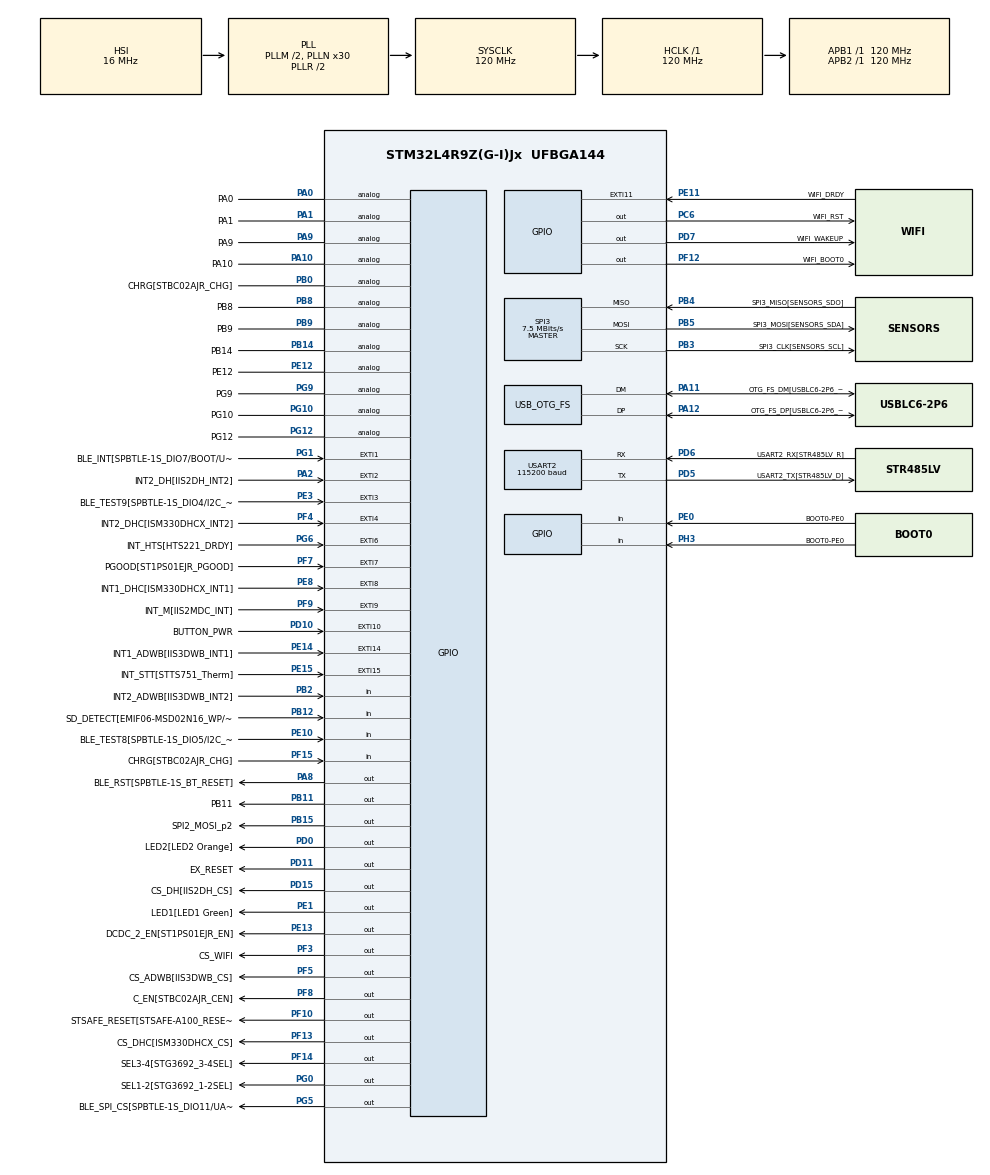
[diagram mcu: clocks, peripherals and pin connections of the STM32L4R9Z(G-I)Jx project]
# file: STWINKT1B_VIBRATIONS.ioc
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Mcu.Family=STM32L4
Mcu.Name=STM32L4R9Z(G-I)Jx
Mcu.Package=UFBGA144
NVIC.OTG_FS_IRQn=true\:0\:0\:false\:false\:true\:false\:true\:true
NVIC.PriorityGroup=NVIC_PRIORITYGROUP_4
NVIC.USART2_IRQn=true\:0\:0\:false\:false\:true\:true\:true\:true
PA0.GPIO_Label=PA0
PA0.Signal=GPIO_Analog
PA1.GPIO_Label=PA1
PA1.Signal=GPIO_Analog
PA10.GPIO_Label=PA10
PA10.Signal=GPIO_Analog
PA11.GPIO_Label=OTG_FS_DM[USBLC6-2P6_D2]
PA11.Mode=Device_Only
PA11.Signal=USB_OTG_FS_DM
PA12.GPIO_Label=OTG_FS_DP[USBLC6-2P6_D1]
PA12.Mode=Device_Only
PA12.Signal=USB_OTG_FS_DP
PA13\ (JTMS/SWDIO).GPIO_Label=SWDIO
PA13\ (JTMS/SWDIO).Signal=SYS_JTMS-SWDIO
PA14\ (JTCK/SWCLK).GPIO_Label=SWDCLK
PA14\ (JTCK/SWCLK).Signal=SYS_JTCK-SWCLK
PA15\ (JTDI).GPIO_Label=EX_PWM
PA15\ (JTDI).Signal=S_TIM2_CH1
PA2.GPIO_Label=INT2_DH[IIS2DH_INT2]
PA2.Signal=GPXTI2
PA4.GPIO_Label=DAC1_OUT1
PA4.Signal=COMP_DAC11_group
PA5.GPIO_Label=EX_ADC
PA5.Signal=ADCx_IN10
PA8.GPIO_Label=BLE_RST[SPBTLE-1S_BT_RESET]
PA8.Signal=GPIO_Output
PA9.GPIO_Label=PA9
PA9.Signal=GPIO_Analog
PB0.GPIO_Label=CHRG[STBC02AJR_CHG]
PB0.Signal=GPIO_Analog
PB1.GPIO_Label=USART3_RTS[STG3692_3S2]
PB1.Signal=USART3_RTS
PB10.GPIO_Label=DFSDM1_D7
PB10.GPIO_PuPd=GPIO_PULLDOWN
PB10.GPIO_Speed=GPIO_SPEED_FREQ_VERY_HIGH
PB10.Signal=S_DATAIN7DFSDM1
PB11.GPIO_Label=PB11
PB11.Signal=GPIO_Output
PB12.GPIO_Label=SD_DETECT[EMIF06-MSD02N16_WP/CD]
PB12.Signal=GPIO_Input
PB13.GPIO_Label=USART3_CTS
PB13.Signal=USART3_CTS
PB14.GPIO_Label=PB14
PB14.Signal=GPIO_Analog
PB15.GPIO_Label=SPI2_MOSI_p2
PB15.Signal=GPIO_Output
PB2.GPIO_Label=INT2_ADWB[IIS3DWB_INT2]
PB2.Signal=GPIO_Input
PB3\ (JTDO/TRACESWO).GPIO_Label=SPI3_CLK[SENSORS_SCL]
PB3\ (JTDO/TRACESWO).Mode=Full_Duplex_Master
PB3\ (JTDO/TRACESWO).Signal=SPI3_SCK
PB4\ (NJTRST).GPIO_Label=SPI3_MISO[SENSORS_SDO]
PB4\ (NJTRST).Mode=Full_Duplex_Master
PB4\ (NJTRST).Signal=SPI3_MISO
PB5.GPIO_Label=SPI3_MOSI[SENSORS_SDA]
PB5.Mode=Full_Duplex_Master
PB5.Signal=SPI3_MOSI
PB6.GPIO_Label=DFSDM1_DATIN5[IMP34DT05_DOUT]
PB6.GPIO_PuPd=GPIO_PULLDOWN
PB6.GPIO_Speed=GPIO_SPEED_FREQ_VERY_HIGH
PB6.Signal=S_DATAIN5DFSDM1
PB8.GPIO_Label=PB8
PB8.Signal=GPIO_Analog
PB9.GPIO_Label=PB9
PB9.Signal=GPIO_Analog
PC0.GPIO_Label=ADC1_IN1[TS922EIJT_OUT2]
PC0.Signal=ADCx_IN1
PC1.GPIO_Label=ADC1_IN2[TS922EIJT_OUT1]
PC1.Signal=ADCx_IN2
PC10.GPIO_Label=SDMMC_D2[EMIF06-MSD02N16_DAT2_In]
PC10.Signal=SDMMC1_D2
PC11.GPIO_Label=SDMMC_D3[EMIF06-MSD02N16_DAT3_In]
PC11.Signal=SDMMC1_D3
PC12.GPIO_Label=SDMMC_CK[EMIF06-MSD02N16_CLK_In]
PC12.Signal=SDMMC1_CK
PC13.GPIO_Label=RTC_TAMP1
PC13.Signal=RTC_TAMP1
PC14-OSC32_IN\ (PC14).GPIO_Label=OSC32_IN
PC14-OSC32_IN\ (PC14).Signal=RCC_OSC32_IN
PC15-OSC32_OUT\ (PC15).GPIO_Label=OSC32_OUT
PC15-OSC32_OUT\ (PC15).Signal=RCC_OSC32_OUT
PC2.GPIO_Label=SPI2_MISO[SPBTLE-1S_DIO2/SPI_MISO]
PC2.Signal=SPI2_MISO
PC3.GPIO_Label=SPI2_MOSI[SPBTLE-1S_DIO3/SPI_MOSI]
PC3.Signal=SPI2_MOSI
PC4.GPIO_Label=uC_ADC_BATT[STBC02AJR_BATMS]
PC4.Signal=ADCx_IN13
PC5.GPIO_Label=PC5/WKUP5
PC5.Signal=SYS_WKUP5
PC6.GPIO_Label=WIFI_RST
PC6.Signal=GPIO_Output
PC8.GPIO_Label=SDMMC_D0[EMIF06-MSD02N16_DAT0_In]
PC8.Signal=SDMMC1_D0
PC9.GPIO_Label=SDMMC_D1[EMIF06-MSD02N16_DAT1_In]
PC9.Signal=SDMMC1_D1
PD0.GPIO_Label=LED2[LED2 Orange]
PD0.Signal=GPIO_Output
PD1.GPIO_Label=SPI2_CLK[SPBTLE-1S_DIO0/SPI_CLK]
PD1.Signal=SPI2_SCK
PD10.GPIO_Label=BUTTON_PWR
PD10.Signal=GPXTI10
PD11.GPIO_Label=EX_RESET 
PD11.Signal=GPIO_Output
PD12.GPIO_Label=I2C4_SCL
PD12.Signal=I2C4_SCL
PD13.GPIO_Label=I2C4_SDA
PD13.Signal=I2C4_SDA
PD15.GPIO_Label=CS_DH[IIS2DH_CS]
PD15.PinState=GPIO_PIN_SET
PD15.Signal=GPIO_Output
PD2.GPIO_Label=SDMMC_CMD[EMIF06-MSD02N16_CMD_In]
PD2.Signal=SDMMC1_CMD
PD4.GPIO_Label=USART2_RTS[STR485LV_DE]
PD4.Signal=USART2_RTS
PD5.GPIO_Label=USART2_TX[STR485LV_D]
PD5.Mode=Asynchronous
PD5.Signal=USART2_TX
PD6.GPIO_Label=USART2_RX[STR485LV_R]
PD6.Mode=Asynchronous
PD6.Signal=USART2_RX
PD7.GPIO_Label=WIFI_WAKEUP
PD7.Signal=GPIO_Output
PD8.GPIO_Label=USART3_TX[STG3692_1S1]
PD8.Signal=USART3_TX
PD9.GPIO_Label=USART3_RX[STG3692_2S1]
PD9.Signal=USART3_RX
PE0.GPIO_Label=BOOT0-PE0
PE0.Signal=GPIO_Input
PE1.GPIO_Label=LED1[LED1 Green]
PE1.Signal=GPIO_Output
PE10.GPIO_Label=BLE_TEST8[SPBTLE-1S_DIO5/I2C_SDA]
PE10.Signal=GPIO_Input
PE11.GPIO_Label=WIFI_DRDY
PE11.Signal=GPXTI11
PE12.GPIO_Label=PE12
PE12.Signal=GPIO_Analog
PE13.GPIO_Label=DCDC_2_EN[ST1PS01EJR_EN]
PE13.Signal=GPIO_Output
PE14.GPIO_Label=INT1_ADWB[IIS3DWB_INT1]
PE14.Signal=GPXTI14
PE15.GPIO_Label=INT_STT[STTS751_Therm]
PE15.Signal=GPXTI15
PE2.GPIO_Label=SAI1_MCLK_A
PE2.Signal=SAI1_MCLK_A
PE3.GPIO_Label=BLE_TEST9[SPBTLE-1S_DIO4/I2C_CLK]
PE3.Signal=GPXTI3
PE4.GPIO_Label=SAI1_FS_A/DFSDM_D3
PE4.Signal=SAI1_FS_A
PE5.GPIO_Label=SAI1_SCK_A
PE5.Signal=SAI1_SCK_A
PE6.GPIO_Label=SAI1_SD_A
PE6.Signal=SAI1_SD_A
PE7.GPIO_Label=SAI1_SD_B
PE7.Signal=SAI1_SD_B
PE8.GPIO_Label=INT1_DHC[ISM330DHCX_INT1]
PE8.Signal=GPXTI8
PE9.GPIO_Label=DFSDM1_CKOUT[IMP34DT05_CLK]
PE9.GPIO_PuPd=GPIO_PULLDOWN
PE9.GPIO_Speed=GPIO_SPEED_FREQ_VERY_HIGH
PE9.Signal=S_CKOUTDFSDM1
PF0.GPIO_Label=I2C2_SDA[SENSORS_SDA]
PF0.Signal=I2C2_SDA
PF1.GPIO_Label=I2C2_SDA[SENSORS_SCL]
PF1.Signal=I2C2_SCL
PF10.GPIO_Label=STSAFE_RESET[STSAFE-A100_RESET]
PF10.Signal=GPIO_Output
PF12.GPIO_Label=WIFI_BOOT0
PF12.Signal=GPIO_Output
PF13.GPIO_Label=CS_DHC[ISM330DHCX_CS]
PF13.GPIO_PuPd=GPIO_NOPULL
PF13.GPIO_Speed=GPIO_SPEED_FREQ_HIGH
PF13.PinState=GPIO_PIN_SET
PF13.Signal=GPIO_Output
PF14.GPIO_Label=SEL3-4[STG3692_3-4SEL]
PF14.Signal=GPIO_Output
PF15.GPIO_Label=CHRG[STBC02AJR_CHG]
PF15.Signal=GPIO_Input
PF2.GPIO_Label=I2C2_SMBA[STTS751_EV]
PF2.Signal=I2C2_SMBA
PF3.GPIO_Label=CS_WIFI
PF3.PinState=GPIO_PIN_SET
PF3.Signal=GPIO_Output
PF4.GPIO_Label=INT2_DHC[ISM330DHCX_INT2]
PF4.Signal=GPXTI4
PF5.GPIO_Label=CS_ADWB[IIS3DWB_CS]
PF5.PinState=GPIO_PIN_SET
PF5.Signal=GPIO_Output
PF6.GPIO_Label=SW_SEL[STBC02AJR_SW_SEL]
PF6.GPIO_Speed=GPIO_SPEED_FREQ_HIGH
PF6.Signal=S_TIM5_CH1
PF7.GPIO_Label=PGOOD[ST1PS01EJR_PGOOD]
PF7.Signal=GPXTI7
PF8.GPIO_Label=C_EN[STBC02AJR_CEN]
PF8.Signal=GPIO_Output
PF9.GPIO_Label=INT_M[IIS2MDC_INT]
PF9.Signal=GPXTI9
PG0.GPIO_Label=SEL1-2[STG3692_1-2SEL]
PG0.Signal=GPIO_Output
PG1.GPIO_Label=BLE_INT[SPBTLE-1S_DIO7/BOOT/UART_CTS]
PG1.Signal=GPXTI1
PG10.GPIO_Label=PG10
PG10.Signal=GPIO_Analog
PG12.GPIO_Label=PG12
PG12.Signal=GPIO_Analog
PG2.GPIO_Label=SPI1_CLK
PG2.Signal=SPI1_SCK
PG3.GPIO_Label=SPI1_MISO
PG3.Signal=SPI1_MISO
PG4.GPIO_Label=SPI1_MOSI
PG4.Signal=SPI1_MOSI
PG5.GPIO_Label=BLE_SPI_CS[SPBTLE-1S_DIO11/UART_RXD]
PG5.PinState=GPIO_PIN_SET
PG5.Signal=GPIO_Output
PG6.GPIO_Label=INT_HTS[HTS221_DRDY]
PG6.Signal=GPXTI6
PG7.GPIO_Label=I2C3_SCL
PG7.Signal=I2C3_SCL
PG8.GPIO_Label=I2C3_SDA
PG8.Signal=I2C3_SDA
PG9.GPIO_Label=PG9
PG9.Signal=GPIO_Analog
PH0-OSC_IN\ (PH0).GPIO_Label=OSC_IN
PH0-OSC_IN\ (PH0).Signal=RCC_OSC_IN
PH1-OSC_OUT\ (PH1).GPIO_Label=OSC_OUT
PH1-OSC_OUT\ (PH1).Signal=RCC_OSC_OUT
PH3-BOOT0.GPIO_Label=BOOT0-PE0
PH3-BOOT0.Signal=GPIO_Input
ProjectManager.HeapSize=0x200
ProjectManager.StackSize=0x400
ProjectManager.TargetToolchain=STM32CubeIDE
RCC.ADCFreq_Value=76800000
RCC.AHBFreq_Value=120000000
RCC.APB1Freq_Value=120000000
RCC.APB1TimFreq_Value=120000000
RCC.APB2Freq_Value=120000000
RCC.APB2TimFreq_Value=120000000
RCC.CK48CLockSelection=RCC_USBCLKSOURCE_HSI48
RCC.CortexFreq_Value=120000000
RCC.DSITX_Div=1
RCC.HCLKFreq_Value=120000000
RCC.HSE_VALUE=16000000
RCC.HSI48_VALUE=48000000
RCC.HSI_VALUE=16000000
RCC.LSE_VALUE=32768
RCC.MSI_VALUE=4000000
RCC.PLLDSIODF=DSI_PLL_OUT_DIV2
RCC.PLLM1=2
RCC.PLLM2=5
RCC.PLLM3=2
RCC.PLLN=30
RCC.PLLSAI1N=96
RCC.PLLSAI1P=RCC_PLLP_DIV25
RCC.PLLSAI1Q=RCC_PLLQ_DIV4
RCC.PLLSAI1R=RCC_PLLR_DIV4
RCC.PLLSourceVirtual=RCC_PLLSOURCE_HSI
RCC.RTCClockSelection=RCC_RTCCLKSOURCE_LSE
RCC.SDMMCClockSelection=RCC_SDIOCLKSOURCE_CLK48
RCC.SYSCLKFreq_VALUE=120000000
RCC.SYSCLKSource=RCC_SYSCLKSOURCE_PLLCLK
RCC.USBFreq_Value=48000000
RCC.VCOOutputFreq_Value=240000000
SH.ADCx_IN1.0=ADC1_IN1
SH.ADCx_IN10.0=ADC1_IN10
SH.ADCx_IN13.0=ADC1_IN13
SH.ADCx_IN2.0=ADC1_IN2
SH.COMP_DAC11_group.0=DAC1_OUT1
SH.S_CKOUTDFSDM1.0=DFSDM1_CKOUT
SH.S_DATAIN5DFSDM1.0=DFSDM1_DATIN5
SH.S_DATAIN7DFSDM1.0=DFSDM1_DATIN7
SH.S_TIM2_CH1.0=TIM2_CH1
SH.S_TIM5_CH1.0=TIM5_CH1
SPI3.BaudRatePrescaler=SPI_BAUDRATEPRESCALER_16
SPI3.CLKPhase=SPI_PHASE_2EDGE
SPI3.CLKPolarity=SPI_POLARITY_HIGH
SPI3.CalculateBaudRate=7.5 MBits/s
SPI3.DataSize=SPI_DATASIZE_8BIT
SPI3.Direction=SPI_DIRECTION_2LINES
SPI3.Mode=SPI_MODE_MASTER
SPI3.VirtualType=VM_MASTER
USART2.BaudRate=115200
USART2.VirtualMode-Asynchronous=VM_ASYNC
USB_DEVICE.CLASS_NAME_FS=CDC
USB_DEVICE.VirtualMode=Cdc
USB_DEVICE.VirtualModeFS=Cdc_FS
USB_OTG_FS.VirtualMode=Device_Only
VP_USB_DEVICE_VS_USB_DEVICE_CDC_FS.Mode=CDC_FS
board=STEVAL-STWINKT1

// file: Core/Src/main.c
/* USER CODE BEGIN Header */
/**
  ******************************************************************************
  * @file           : main.c
  * @brief          : Main program body
  ******************************************************************************
  * @attention
  *
  * <h2><center>&copy; Copyright (c) 2021 STMicroelectronics.
  * All rights reserved.</center></h2>
  *
  * This software component is licensed by ST under BSD 3-Clause license,
  * the "License"; You may not use this file except in compliance with the
  * License. You may obtain a copy of the License at:
  *                        opensource.org/licenses/BSD-3-Clause
  *
  ******************************************************************************
  */
/* USER CODE END Header */
#include "main.h"
#include "usb_device.h"

/* USER CODE BEGIN Includes */
#include "usbd_cdc_if.h"
#include "ism330dhcx_reg.h"
#include "NanoEdgeAI.h"
#include <stdio.h>
#include <math.h>
/* USER CODE END Includes */

/* USER CODE BEGIN PD */
#define SENSOR_BUS 		hspi3	/* SPI3 connected to the ISM330DHCX */
#define LEARN_NB		50	/* Number of learns before entering in detect mode */
#define NEAI_MODE		0	/* 0: Datalogging mode | 1: NEAI functions mode */
#define NEAI_NB_VERIFS	3	/* Number of inferences done before calculating a mean result */
#define THRESHOLD		90	/* NEAI threshold between nominal & abnormal */
#define COM_MODE		0	/* 0: HUART (USB on STLink) | 1: USB_CDC (USB on STWIN) */
/* USER CODE END PD */

/* USER CODE BEGIN PM */
#define	BOOT_TIME	100 //ms
/* USER CODE END PM */

SPI_HandleTypeDef hspi3;

UART_HandleTypeDef huart2;

/* USER CODE BEGIN PV */
static stmdev_ctx_t dev_ctx;
static int16_t data_raw_acceleration[3];
static uint8_t whoamI, rst;
static uint8_t tx_buffer[1000];
float input_user_buffer[DATA_INPUT_USER * AXIS_NUMBER];	// Buffer of input values
char input_user_buffer_uint8[7 * DATA_INPUT_USER * AXIS_NUMBER + 1];
uint8_t learn_cpt = 0, signals = 0, neai_result = 0;
uint32_t nb_inferences = 0, mean_neai_result = 0;
/* USER CODE END PV */

void SystemClock_Config(void);
static void MX_GPIO_Init(void);
static void MX_SPI3_Init(void);
static void MX_USART2_UART_Init(void);
/* USER CODE BEGIN PFP */
static int32_t platform_write(void *handle, uint8_t reg, const uint8_t *bufp, uint16_t len);
static int32_t platform_read(void *handle, uint8_t reg, uint8_t *bufp, uint16_t len);
static void tx_com( uint8_t *tx_buffer, uint16_t len );
static void platform_delay(uint32_t ms);
/* USER CODE END PFP */

int main(void)
{
  /* USER CODE BEGIN 1 */
  /* Initialize mems driver interface */
  dev_ctx.write_reg = platform_write;
  dev_ctx.read_reg = platform_read;
  dev_ctx.handle = &SENSOR_BUS;
  /* USER CODE END 1 */

  /* MCU Configuration--------------------------------------------------------*/

  /* Reset of all peripherals, Initializes the Flash interface and the Systick. */
  HAL_Init();

  /* USER CODE BEGIN Init */
  enum neai_state error_code = neai_anomalydetection_init();	// Anomaly Detection init
  if (error_code != NEAI_OK) {								// Checking NEAI error code
	  printf("NEAI ERROR %d\r\n", error_code);
  } else {
	  printf("NEAI OK\r\n");
  }
  /* USER CODE END Init */

  /* Configure the system clock */
  SystemClock_Config();

  /* Initialize all configured peripherals */
  MX_GPIO_Init();
  MX_USB_DEVICE_Init();
  MX_SPI3_Init();
  MX_USART2_UART_Init();
  /* USER CODE BEGIN 2 */

  /* Set SPI3 on TX/RX STMOD+ pins */
  HAL_GPIO_WritePin(GPIOG, SEL1_2_Pin, GPIO_PIN_SET);

  /* Restore default configuration */
  ism330dhcx_reset_set(&dev_ctx, PROPERTY_ENABLE);
  /* Wait sensor boot time */
  platform_delay(BOOT_TIME);

  do {
	  /* Restore default configuration */
      ism330dhcx_reset_set(&dev_ctx, PROPERTY_ENABLE);
      /* Wait sensor boot time */
      platform_delay(BOOT_TIME);
      /* Check device ID */
      ism330dhcx_device_id_get(&dev_ctx, &whoamI);
  }
  while (whoamI != ISM330DHCX_ID);

  do {
	  /* Check sensor reset */
      ism330dhcx_reset_get(&dev_ctx, &rst);
  }
  while (rst);

  /* Start device configuration. */
  ism330dhcx_device_conf_set(&dev_ctx, PROPERTY_ENABLE);
  /* Enable Block Data Update */
  ism330dhcx_block_data_update_set(&dev_ctx, PROPERTY_ENABLE);
  /* Set Output Data Rate */
  ism330dhcx_xl_data_rate_set(&dev_ctx, ISM330DHCX_XL_ODR_833Hz);
  /* Set full scale */
  ism330dhcx_xl_full_scale_set(&dev_ctx, ISM330DHCX_2g);
  /* Configure filtering chain(No aux interface)
   *
   * Accelerometer - LPF1 + LPF2 path
   */
  //ism330dhcx_xl_hp_path_on_out_set(&dev_ctx, ISM330DHCX_LP_ODR_DIV_100);
  ism330dhcx_xl_hp_path_on_out_set(&dev_ctx, ISM330DHCX_HP_PATH_DISABLE_ON_OUT);
  //ism330dhcx_xl_filter_lp2_set(&dev_ctx, PROPERTY_ENABLE);

  /* Fill accelerometer buffer */
  HAL_UART_TxCpltCallback(&huart2);

  /* USER CODE END 2 */

  /* Infinite loop */
  /* USER CODE BEGIN WHILE */
  while (1)
  {
    if (NEAI_MODE) {
		if (learn_cpt < LEARN_NB) {
			HAL_GPIO_WritePin(GPIOE, LED2_Pin, GPIO_PIN_SET);
			/* Increase learn counter */
			learn_cpt++;
			/* Call NEAI learn function */
			error_code = neai_anomalydetection_learn(input_user_buffer);
			/* Print infos on learning */
			sprintf((char *)tx_buffer, "Learn: %d/%d.\r\n", learn_cpt, LEARN_NB);
			if (COM_MODE) {
				tx_com(tx_buffer, strlen((char const *)tx_buffer));
			}
			else {
				HAL_UART_Transmit_IT(&huart2, tx_buffer, strlen((char const *)tx_buffer));
			}
		}
		else {
			/* Learning is done, first detect */
			if(learn_cpt == LEARN_NB) {
				HAL_Delay(2200);
				learn_cpt++;
			}
			//HAL_GPIO_WritePin(GPIOE, LED1_Pin, GPIO_PIN_SET);
	    	/* Fill accelerometer buffer */
	    	HAL_UART_TxCpltCallback(&huart2);
			/* Detect */
			if(nb_inferences < NEAI_NB_VERIFS) {
				error_code = neai_anomalydetection_detect(input_user_buffer, &neai_result);
				mean_neai_result += neai_result;
				nb_inferences++;
			} else {
				neai_result = mean_neai_result / NEAI_NB_VERIFS;
				nb_inferences = 0;
				mean_neai_result = 0;

				/* Print infos on detect */
				sprintf((char *)tx_buffer, "Result: %d/100.\r\n", neai_result);
				if (COM_MODE) {
					tx_com(tx_buffer, strlen((char const *)tx_buffer));
				}
				else {
					HAL_UART_Transmit_IT(&huart2, tx_buffer, strlen((char const *)tx_buffer));
				}
				if (neai_result < THRESHOLD) {
					/* Switch on orange led */
					HAL_GPIO_WritePin(GPIOE, LED1_Pin, GPIO_PIN_RESET);
					HAL_GPIO_WritePin(GPIOD, LED2_Pin, GPIO_PIN_SET);
				}
				else {
					/* Switch on green led */
					HAL_GPIO_WritePin(GPIOE, LED1_Pin, GPIO_PIN_SET);
					HAL_GPIO_WritePin(GPIOD, LED2_Pin, GPIO_PIN_RESET);
				}
				HAL_Delay(800);
			}
		}
	}
    else {
    	if (COM_MODE) {
    		/* Fill accelerometer buffer */
    		HAL_UART_TxCpltCallback(&huart2);
    		/* Formatting the whole buffer to be sent through usb_cdc */
        	for(uint32_t buf_index = 0 ; buf_index < DATA_INPUT_USER * AXIS_NUMBER ; buf_index++) {
        		snprintf(input_user_buffer_uint8 + 7*buf_index, 7, "%.4f", input_user_buffer[buf_index]);
        		*(input_user_buffer_uint8 + 7*buf_index + 6) = ' ';
        	}
        	*(input_user_buffer_uint8 + 7*(DATA_INPUT_USER * AXIS_NUMBER)) = '\n';
    		/* Print the whole buffer to the serial over usb_cdc */
    		tx_com((uint8_t *)input_user_buffer_uint8, strlen((char const *)input_user_buffer_uint8));
    	}
    	else {
    		/* Formatting the whole buffer to be sent through uart */
        	for(uint32_t buf_index = 0 ; buf_index < DATA_INPUT_USER * AXIS_NUMBER ; buf_index++) {
        		snprintf(input_user_buffer_uint8 + 7*buf_index, 7, "%.4f", input_user_buffer[buf_index]);
        		*(input_user_buffer_uint8 + 7*buf_index + 6) = ' ';
        	}
        	*(input_user_buffer_uint8 + 7*(DATA_INPUT_USER * AXIS_NUMBER)) = '\n';
        	/* Print the whole buffer to the serial */
        	HAL_UART_Transmit_IT(&huart2, (uint8_t *)input_user_buffer_uint8, sizeof(input_user_buffer_uint8));
    	}
		signals++;
    }
    /* USER CODE END WHILE */

  }
}

void SystemClock_Config(void)
{
  RCC_OscInitTypeDef RCC_OscInitStruct = {0};
  RCC_ClkInitTypeDef RCC_ClkInitStruct = {0};

  /** Configure the main internal regulator output voltage
  */
  if (HAL_PWREx_ControlVoltageScaling(PWR_REGULATOR_VOLTAGE_SCALE1_BOOST) != HAL_OK)
  {
    Error_Handler();
  }
  /** Initializes the RCC Oscillators according to the specified parameters
  * in the RCC_OscInitTypeDef structure.
  */
  RCC_OscInitStruct.OscillatorType = RCC_OSCILLATORTYPE_HSI48|RCC_OSCILLATORTYPE_HSI;
  RCC_OscInitStruct.HSIState = RCC_HSI_ON;
  RCC_OscInitStruct.HSI48State = RCC_HSI48_ON;
  RCC_OscInitStruct.HSICalibrationValue = RCC_HSICALIBRATION_DEFAULT;
  RCC_OscInitStruct.PLL.PLLState = RCC_PLL_ON;
  RCC_OscInitStruct.PLL.PLLSource = RCC_PLLSOURCE_HSI;
  RCC_OscInitStruct.PLL.PLLM = 2;
  RCC_OscInitStruct.PLL.PLLN = 30;
  RCC_OscInitStruct.PLL.PLLP = RCC_PLLP_DIV2;
  RCC_OscInitStruct.PLL.PLLQ = RCC_PLLQ_DIV2;
  RCC_OscInitStruct.PLL.PLLR = RCC_PLLR_DIV2;
  if (HAL_RCC_OscConfig(&RCC_OscInitStruct) != HAL_OK)
  {
    Error_Handler();
  }
  /** Initializes the CPU, AHB and APB buses clocks
  */
  RCC_ClkInitStruct.ClockType = RCC_CLOCKTYPE_HCLK|RCC_CLOCKTYPE_SYSCLK
                              |RCC_CLOCKTYPE_PCLK1|RCC_CLOCKTYPE_PCLK2;
  RCC_ClkInitStruct.SYSCLKSource = RCC_SYSCLKSOURCE_PLLCLK;
  RCC_ClkInitStruct.AHBCLKDivider = RCC_SYSCLK_DIV1;
  RCC_ClkInitStruct.APB1CLKDivider = RCC_HCLK_DIV1;
  RCC_ClkInitStruct.APB2CLKDivider = RCC_HCLK_DIV1;

  if (HAL_RCC_ClockConfig(&RCC_ClkInitStruct, FLASH_LATENCY_5) != HAL_OK)
  {
    Error_Handler();
  }
}

static void MX_SPI3_Init(void)
{

  /* SPI3 parameter configuration*/
  hspi3.Instance = SPI3;
  hspi3.Init.Mode = SPI_MODE_MASTER;
  hspi3.Init.Direction = SPI_DIRECTION_2LINES;
  hspi3.Init.DataSize = SPI_DATASIZE_8BIT;
  hspi3.Init.CLKPolarity = SPI_POLARITY_HIGH;
  hspi3.Init.CLKPhase = SPI_PHASE_2EDGE;
  hspi3.Init.NSS = SPI_NSS_SOFT;
  hspi3.Init.BaudRatePrescaler = SPI_BAUDRATEPRESCALER_16;
  hspi3.Init.FirstBit = SPI_FIRSTBIT_MSB;
  hspi3.Init.TIMode = SPI_TIMODE_DISABLE;
  hspi3.Init.CRCCalculation = SPI_CRCCALCULATION_DISABLE;
  hspi3.Init.CRCPolynomial = 7;
  hspi3.Init.CRCLength = SPI_CRC_LENGTH_DATASIZE;
  hspi3.Init.NSSPMode = SPI_NSS_PULSE_DISABLE;
  if (HAL_SPI_Init(&hspi3) != HAL_OK)
  {
    Error_Handler();
  }

}

static void MX_USART2_UART_Init(void)
{

  huart2.Instance = USART2;
  huart2.Init.BaudRate = 115200;
  huart2.Init.WordLength = UART_WORDLENGTH_8B;
  huart2.Init.StopBits = UART_STOPBITS_1;
  huart2.Init.Parity = UART_PARITY_NONE;
  huart2.Init.Mode = UART_MODE_TX_RX;
  huart2.Init.HwFlowCtl = UART_HWCONTROL_NONE;
  huart2.Init.OverSampling = UART_OVERSAMPLING_16;
  huart2.Init.OneBitSampling = UART_ONE_BIT_SAMPLE_DISABLE;
  huart2.Init.ClockPrescaler = UART_PRESCALER_DIV1;
  huart2.AdvancedInit.AdvFeatureInit = UART_ADVFEATURE_NO_INIT;
  if (HAL_UART_Init(&huart2) != HAL_OK)
  {
    Error_Handler();
  }
  if (HAL_UARTEx_SetTxFifoThreshold(&huart2, UART_TXFIFO_THRESHOLD_1_8) != HAL_OK)
  {
    Error_Handler();
  }
  if (HAL_UARTEx_SetRxFifoThreshold(&huart2, UART_RXFIFO_THRESHOLD_1_8) != HAL_OK)
  {
    Error_Handler();
  }
  if (HAL_UARTEx_DisableFifoMode(&huart2) != HAL_OK)
  {
    Error_Handler();
  }

}

static void MX_GPIO_Init(void)
{
  GPIO_InitTypeDef GPIO_InitStruct = {0};

  /* GPIO Ports Clock Enable */
  __HAL_RCC_GPIOE_CLK_ENABLE();
  __HAL_RCC_GPIOB_CLK_ENABLE();
  __HAL_RCC_GPIOH_CLK_ENABLE();
  __HAL_RCC_GPIOC_CLK_ENABLE();
  __HAL_RCC_GPIOA_CLK_ENABLE();
  __HAL_RCC_GPIOD_CLK_ENABLE();
  __HAL_RCC_GPIOG_CLK_ENABLE();
  HAL_PWREx_EnableVddIO2();
  __HAL_RCC_GPIOF_CLK_ENABLE();

  /*Configure GPIO pin Output Level */
  HAL_GPIO_WritePin(GPIOE, LED1_Pin|DCDC_2_EN_Pin, GPIO_PIN_RESET);

  /*Configure GPIO pin Output Level */
  HAL_GPIO_WritePin(GPIOD, LED2_Pin|WIFI_WAKEUP_Pin|EX_RESET_Pin, GPIO_PIN_RESET);

  /*Configure GPIO pin Output Level */
  HAL_GPIO_WritePin(BLE_RST_GPIO_Port, BLE_RST_Pin, GPIO_PIN_RESET);

  /*Configure GPIO pin Output Level */
  HAL_GPIO_WritePin(WIFI_RST_GPIO_Port, WIFI_RST_Pin, GPIO_PIN_RESET);

  /*Configure GPIO pin Output Level */
  HAL_GPIO_WritePin(GPIOF, CS_WIFI_Pin|CS_ADWB_Pin|CS_DHC_Pin, GPIO_PIN_SET);

  /*Configure GPIO pin Output Level */
  HAL_GPIO_WritePin(GPIOF, C_EN_Pin|STSAFE_RESET_Pin|WIFI_BOOT0_Pin|SEL3_4_Pin, GPIO_PIN_RESET);

  /*Configure GPIO pin Output Level */
  HAL_GPIO_WritePin(BLE_SPI_CS_GPIO_Port, BLE_SPI_CS_Pin, GPIO_PIN_SET);

  /*Configure GPIO pin Output Level */
  HAL_GPIO_WritePin(CS_DH_GPIO_Port, CS_DH_Pin, GPIO_PIN_SET);

  /*Configure GPIO pin Output Level */
  HAL_GPIO_WritePin(GPIOB, SPI2_MOSI_p2_Pin|PB11_Pin, GPIO_PIN_RESET);

  /*Configure GPIO pin Output Level */
  HAL_GPIO_WritePin(SEL1_2_GPIO_Port, SEL1_2_Pin, GPIO_PIN_RESET);

  /*Configure GPIO pins : BOOT0_PE0_Pin BLE_TEST8_Pin */
  GPIO_InitStruct.Pin = BOOT0_PE0_Pin|BLE_TEST8_Pin;
  GPIO_InitStruct.Mode = GPIO_MODE_INPUT;
  GPIO_InitStruct.Pull = GPIO_NOPULL;
  HAL_GPIO_Init(GPIOE, &GPIO_InitStruct);

  /*Configure GPIO pins : PB9_Pin PB8_Pin PB14_Pin CHRGB0_Pin */
  GPIO_InitStruct.Pin = PB9_Pin|PB8_Pin|PB14_Pin|CHRGB0_Pin;
  GPIO_InitStruct.Mode = GPIO_MODE_ANALOG;
  GPIO_InitStruct.Pull = GPIO_NOPULL;
  HAL_GPIO_Init(GPIOB, &GPIO_InitStruct);

  /*Configure GPIO pin : BOOT0_PE0H3_Pin */
  GPIO_InitStruct.Pin = BOOT0_PE0H3_Pin;
  GPIO_InitStruct.Mode = GPIO_MODE_INPUT;
  GPIO_InitStruct.Pull = GPIO_NOPULL;
  HAL_GPIO_Init(BOOT0_PE0H3_GPIO_Port, &GPIO_InitStruct);

  /*Configure GPIO pins : SDMMC_D3_Pin SDMMC_D2_Pin SDMMC_D1_Pin SDMMC_CK_Pin
                           SDMMC_D0_Pin */
  GPIO_InitStruct.Pin = SDMMC_D3_Pin|SDMMC_D2_Pin|SDMMC_D1_Pin|SDMMC_CK_Pin
                          |SDMMC_D0_Pin;
  GPIO_InitStruct.Mode = GPIO_MODE_AF_PP;
  GPIO_InitStruct.Pull = GPIO_NOPULL;
  GPIO_InitStruct.Speed = GPIO_SPEED_FREQ_VERY_HIGH;
  GPIO_InitStruct.Alternate = GPIO_AF12_SDMMC1;
  HAL_GPIO_Init(GPIOC, &GPIO_InitStruct);

  /*Configure GPIO pins : BLE_TEST9_Pin WIFI_DRDY_Pin INT1_DHC_Pin INT_STT_Pin
                           INT1_ADWB_Pin */
  GPIO_InitStruct.Pin = BLE_TEST9_Pin|WIFI_DRDY_Pin|INT1_DHC_Pin|INT_STT_Pin
                          |INT1_ADWB_Pin;
  GPIO_InitStruct.Mode = GPIO_MODE_IT_RISING;
  GPIO_InitStruct.Pull = GPIO_NOPULL;
  HAL_GPIO_Init(GPIOE, &GPIO_InitStruct);

  /*Configure GPIO pin : SPI2_CLK_Pin */
  GPIO_InitStruct.Pin = SPI2_CLK_Pin;
  GPIO_InitStruct.Mode = GPIO_MODE_AF_PP;
  GPIO_InitStruct.Pull = GPIO_NOPULL;
  GPIO_InitStruct.Speed = GPIO_SPEED_FREQ_VERY_HIGH;
  GPIO_InitStruct.Alternate = GPIO_AF5_SPI2;
  HAL_GPIO_Init(SPI2_CLK_GPIO_Port, &GPIO_InitStruct);

  /*Configure GPIO pin : EX_PWM_Pin */
  GPIO_InitStruct.Pin = EX_PWM_Pin;
  GPIO_InitStruct.Mode = GPIO_MODE_AF_PP;
  GPIO_InitStruct.Pull = GPIO_NOPULL;
  GPIO_InitStruct.Speed = GPIO_SPEED_FREQ_LOW;
  GPIO_InitStruct.Alternate = GPIO_AF1_TIM2;
  HAL_GPIO_Init(EX_PWM_GPIO_Port, &GPIO_InitStruct);

  /*Configure GPIO pins : SAI1_SCK_A_Pin SAI1_MCLK_A_Pin SAI1_FS_A_DFSDM_D3_Pin SAI1_SD_A_Pin
                           SAI1_SD_B_Pin */
  GPIO_InitStruct.Pin = SAI1_SCK_A_Pin|SAI1_MCLK_A_Pin|SAI1_FS_A_DFSDM_D3_Pin|SAI1_SD_A_Pin
                          |SAI1_SD_B_Pin;
  GPIO_InitStruct.Mode = GPIO_MODE_AF_PP;
  GPIO_InitStruct.Pull = GPIO_NOPULL;
  GPIO_InitStruct.Speed = GPIO_SPEED_FREQ_LOW;
  GPIO_InitStruct.Alternate = GPIO_AF13_SAI1;
  HAL_GPIO_Init(GPIOE, &GPIO_InitStruct);

  /*Configure GPIO pins : LED1_Pin DCDC_2_EN_Pin */
  GPIO_InitStruct.Pin = LED1_Pin|DCDC_2_EN_Pin;
  GPIO_InitStruct.Mode = GPIO_MODE_OUTPUT_PP;
  GPIO_InitStruct.Pull = GPIO_NOPULL;
  GPIO_InitStruct.Speed = GPIO_SPEED_FREQ_LOW;
  HAL_GPIO_Init(GPIOE, &GPIO_InitStruct);

  /*Configure GPIO pins : LED2_Pin WIFI_WAKEUP_Pin CS_DH_Pin EX_RESET_Pin */
  GPIO_InitStruct.Pin = LED2_Pin|WIFI_WAKEUP_Pin|CS_DH_Pin|EX_RESET_Pin;
  GPIO_InitStruct.Mode = GPIO_MODE_OUTPUT_PP;
  GPIO_InitStruct.Pull = GPIO_NOPULL;
  GPIO_InitStruct.Speed = GPIO_SPEED_FREQ_LOW;
  HAL_GPIO_Init(GPIOD, &GPIO_InitStruct);

  /*Configure GPIO pins : PA10_Pin PA9_Pin PA0_Pin DAC1_OUT1_Pin
                           PA1_Pin */
  GPIO_InitStruct.Pin = PA10_Pin|PA9_Pin|PA0_Pin|DAC1_OUT1_Pin
                          |PA1_Pin;
  GPIO_InitStruct.Mode = GPIO_MODE_ANALOG;
  GPIO_InitStruct.Pull = GPIO_NOPULL;
  HAL_GPIO_Init(GPIOA, &GPIO_InitStruct);

  /*Configure GPIO pins : DFSDM1_DATIN5_Pin DFSDM1_D7_Pin */
  GPIO_InitStruct.Pin = DFSDM1_DATIN5_Pin|DFSDM1_D7_Pin;
  GPIO_InitStruct.Mode = GPIO_MODE_AF_PP;
  GPIO_InitStruct.Pull = GPIO_PULLDOWN;
  GPIO_InitStruct.Speed = GPIO_SPEED_FREQ_VERY_HIGH;
  GPIO_InitStruct.Alternate = GPIO_AF6_DFSDM1;
  HAL_GPIO_Init(GPIOB, &GPIO_InitStruct);

  /*Configure GPIO pins : PG12_Pin PG10_Pin PG9_Pin */
  GPIO_InitStruct.Pin = PG12_Pin|PG10_Pin|PG9_Pin;
  GPIO_InitStruct.Mode = GPIO_MODE_ANALOG;
  GPIO_InitStruct.Pull = GPIO_NOPULL;
  HAL_GPIO_Init(GPIOG, &GPIO_InitStruct);

  /*Configure GPIO pin : SDMMC_CMD_Pin */
  GPIO_InitStruct.Pin = SDMMC_CMD_Pin;
  GPIO_InitStruct.Mode = GPIO_MODE_AF_PP;
  GPIO_InitStruct.Pull = GPIO_NOPULL;
  GPIO_InitStruct.Speed = GPIO_SPEED_FREQ_VERY_HIGH;
  GPIO_InitStruct.Alternate = GPIO_AF12_SDMMC1;
  HAL_GPIO_Init(SDMMC_CMD_GPIO_Port, &GPIO_InitStruct);

  /*Configure GPIO pin : BLE_RST_Pin */
  GPIO_InitStruct.Pin = BLE_RST_Pin;
  GPIO_InitStruct.Mode = GPIO_MODE_OUTPUT_PP;
  GPIO_InitStruct.Pull = GPIO_NOPULL;
  GPIO_InitStruct.Speed = GPIO_SPEED_FREQ_LOW;
  HAL_GPIO_Init(BLE_RST_GPIO_Port, &GPIO_InitStruct);

  /*Configure GPIO pin : WIFI_RST_Pin */
  GPIO_InitStruct.Pin = WIFI_RST_Pin;
  GPIO_InitStruct.Mode = GPIO_MODE_OUTPUT_PP;
  GPIO_InitStruct.Pull = GPIO_NOPULL;
  GPIO_InitStruct.Speed = GPIO_SPEED_FREQ_LOW;
  HAL_GPIO_Init(WIFI_RST_GPIO_Port, &GPIO_InitStruct);

  /*Configure GPIO pins : I2C2_SMBA_Pin I2C2_SDA_Pin I2C2_SDAF0_Pin */
  GPIO_InitStruct.Pin = I2C2_SMBA_Pin|I2C2_SDA_Pin|I2C2_SDAF0_Pin;
  GPIO_InitStruct.Mode = GPIO_MODE_AF_OD;
  GPIO_InitStruct.Pull = GPIO_NOPULL;
  GPIO_InitStruct.Speed = GPIO_SPEED_FREQ_VERY_HIGH;
  GPIO_InitStruct.Alternate = GPIO_AF4_I2C2;
  HAL_GPIO_Init(GPIOF, &GPIO_InitStruct);

  /*Configure GPIO pins : CS_WIFI_Pin C_EN_Pin CS_ADWB_Pin STSAFE_RESET_Pin
                           WIFI_BOOT0_Pin SEL3_4_Pin */
  GPIO_InitStruct.Pin = CS_WIFI_Pin|C_EN_Pin|CS_ADWB_Pin|STSAFE_RESET_Pin
                          |WIFI_BOOT0_Pin|SEL3_4_Pin;
  GPIO_InitStruct.Mode = GPIO_MODE_OUTPUT_PP;
  GPIO_InitStruct.Pull = GPIO_NOPULL;
  GPIO_InitStruct.Speed = GPIO_SPEED_FREQ_LOW;
  HAL_GPIO_Init(GPIOF, &GPIO_InitStruct);

  /*Configure GPIO pins : I2C3_SDA_Pin I2C3_SCL_Pin */
  GPIO_InitStruct.Pin = I2C3_SDA_Pin|I2C3_SCL_Pin;
  GPIO_InitStruct.Mode = GPIO_MODE_AF_OD;
  GPIO_InitStruct.Pull = GPIO_NOPULL;
  GPIO_InitStruct.Speed = GPIO_SPEED_FREQ_VERY_HIGH;
  GPIO_InitStruct.Alternate = GPIO_AF4_I2C3;
  HAL_GPIO_Init(GPIOG, &GPIO_InitStruct);

  /*Configure GPIO pin : SW_SEL_Pin */
  GPIO_InitStruct.Pin = SW_SEL_Pin;
  GPIO_InitStruct.Mode = GPIO_MODE_AF_PP;
  GPIO_InitStruct.Pull = GPIO_NOPULL;
  GPIO_InitStruct.Speed = GPIO_SPEED_FREQ_HIGH;
  GPIO_InitStruct.Alternate = GPIO_AF2_TIM5;
  HAL_GPIO_Init(SW_SEL_GPIO_Port, &GPIO_InitStruct);

  /*Configure GPIO pins : INT2_DHC_Pin PGOOD_Pin INT_M_Pin */
  GPIO_InitStruct.Pin = INT2_DHC_Pin|PGOOD_Pin|INT_M_Pin;
  GPIO_InitStruct.Mode = GPIO_MODE_IT_RISING;
  GPIO_InitStruct.Pull = GPIO_NOPULL;
  HAL_GPIO_Init(GPIOF, &GPIO_InitStruct);

  /*Configure GPIO pins : SPI1_MISO_Pin SPI1_MOSI_Pin SPI1_CLK_Pin */
  GPIO_InitStruct.Pin = SPI1_MISO_Pin|SPI1_MOSI_Pin|SPI1_CLK_Pin;
  GPIO_InitStruct.Mode = GPIO_MODE_AF_PP;
  GPIO_InitStruct.Pull = GPIO_NOPULL;
  GPIO_InitStruct.Speed = GPIO_SPEED_FREQ_VERY_HIGH;
  GPIO_InitStruct.Alternate = GPIO_AF5_SPI1;
  HAL_GPIO_Init(GPIOG, &GPIO_InitStruct);

  /*Configure GPIO pins : BLE_SPI_CS_Pin SEL1_2_Pin */
  GPIO_InitStruct.Pin = BLE_SPI_CS_Pin|SEL1_2_Pin;
  GPIO_InitStruct.Mode = GPIO_MODE_OUTPUT_PP;
  GPIO_InitStruct.Pull = GPIO_NOPULL;
  GPIO_InitStruct.Speed = GPIO_SPEED_FREQ_LOW;
  HAL_GPIO_Init(GPIOG, &GPIO_InitStruct);

  /*Configure GPIO pins : INT_HTS_Pin BLE_INT_Pin */
  GPIO_InitStruct.Pin = INT_HTS_Pin|BLE_INT_Pin;
  GPIO_InitStruct.Mode = GPIO_MODE_IT_RISING;
  GPIO_InitStruct.Pull = GPIO_NOPULL;
  HAL_GPIO_Init(GPIOG, &GPIO_InitStruct);

  /*Configure GPIO pins : I2C4_SCL_Pin I2C4_SDA_Pin */
  GPIO_InitStruct.Pin = I2C4_SCL_Pin|I2C4_SDA_Pin;
  GPIO_InitStruct.Mode = GPIO_MODE_AF_OD;
  GPIO_InitStruct.Pull = GPIO_NOPULL;
  GPIO_InitStruct.Speed = GPIO_SPEED_FREQ_VERY_HIGH;
  GPIO_InitStruct.Alternate = GPIO_AF4_I2C4;
  HAL_GPIO_Init(GPIOD, &GPIO_InitStruct);

  /*Configure GPIO pins : ADC1_IN1_Pin ADC1_IN2_Pin uC_ADC_BATT_Pin */
  GPIO_InitStruct.Pin = ADC1_IN1_Pin|ADC1_IN2_Pin|uC_ADC_BATT_Pin;
  GPIO_InitStruct.Mode = GPIO_MODE_ANALOG_ADC_CONTROL;
  GPIO_InitStruct.Pull = GPIO_NOPULL;
  HAL_GPIO_Init(GPIOC, &GPIO_InitStruct);

  /*Configure GPIO pins : SPI2_MISO_Pin SPI2_MOSI_Pin */
  GPIO_InitStruct.Pin = SPI2_MISO_Pin|SPI2_MOSI_Pin;
  GPIO_InitStruct.Mode = GPIO_MODE_AF_PP;
  GPIO_InitStruct.Pull = GPIO_NOPULL;
  GPIO_InitStruct.Speed = GPIO_SPEED_FREQ_VERY_HIGH;
  GPIO_InitStruct.Alternate = GPIO_AF5_SPI2;
  HAL_GPIO_Init(GPIOC, &GPIO_InitStruct);

  /*Configure GPIO pins : INT2_ADWB_Pin SD_DETECT_Pin */
  GPIO_InitStruct.Pin = INT2_ADWB_Pin|SD_DETECT_Pin;
  GPIO_InitStruct.Mode = GPIO_MODE_INPUT;
  GPIO_InitStruct.Pull = GPIO_NOPULL;
  HAL_GPIO_Init(GPIOB, &GPIO_InitStruct);

  /*Configure GPIO pin : CHRG_Pin */
  GPIO_InitStruct.Pin = CHRG_Pin;
  GPIO_InitStruct.Mode = GPIO_MODE_INPUT;
  GPIO_InitStruct.Pull = GPIO_NOPULL;
  HAL_GPIO_Init(CHRG_GPIO_Port, &GPIO_InitStruct);

  /*Configure GPIO pin : BUTTON_PWR_Pin */
  GPIO_InitStruct.Pin = BUTTON_PWR_Pin;
  GPIO_InitStruct.Mode = GPIO_MODE_IT_RISING;
  GPIO_InitStruct.Pull = GPIO_NOPULL;
  HAL_GPIO_Init(BUTTON_PWR_GPIO_Port, &GPIO_InitStruct);

  /*Configure GPIO pins : USART3_RX_Pin USART3_TX_Pin */
  GPIO_InitStruct.Pin = USART3_RX_Pin|USART3_TX_Pin;
  GPIO_InitStruct.Mode = GPIO_MODE_AF_PP;
  GPIO_InitStruct.Pull = GPIO_NOPULL;
  GPIO_InitStruct.Speed = GPIO_SPEED_FREQ_VERY_HIGH;
  GPIO_InitStruct.Alternate = GPIO_AF7_USART3;
  HAL_GPIO_Init(GPIOD, &GPIO_InitStruct);

  /*Configure GPIO pins : USART3_RTS_Pin USART3_CTS_Pin */
  GPIO_InitStruct.Pin = USART3_RTS_Pin|USART3_CTS_Pin;
  GPIO_InitStruct.Mode = GPIO_MODE_AF_PP;
  GPIO_InitStruct.Pull = GPIO_NOPULL;
  GPIO_InitStruct.Speed = GPIO_SPEED_FREQ_VERY_HIGH;
  GPIO_InitStruct.Alternate = GPIO_AF7_USART3;
  HAL_GPIO_Init(GPIOB, &GPIO_InitStruct);

  /*Configure GPIO pin : CS_DHC_Pin */
  GPIO_InitStruct.Pin = CS_DHC_Pin;
  GPIO_InitStruct.Mode = GPIO_MODE_OUTPUT_PP;
  GPIO_InitStruct.Pull = GPIO_NOPULL;
  GPIO_InitStruct.Speed = GPIO_SPEED_FREQ_HIGH;
  HAL_GPIO_Init(CS_DHC_GPIO_Port, &GPIO_InitStruct);

  /*Configure GPIO pin : DFSDM1_CKOUT_Pin */
  GPIO_InitStruct.Pin = DFSDM1_CKOUT_Pin;
  GPIO_InitStruct.Mode = GPIO_MODE_AF_PP;
  GPIO_InitStruct.Pull = GPIO_PULLDOWN;
  GPIO_InitStruct.Speed = GPIO_SPEED_FREQ_VERY_HIGH;
  GPIO_InitStruct.Alternate = GPIO_AF6_DFSDM1;
  HAL_GPIO_Init(DFSDM1_CKOUT_GPIO_Port, &GPIO_InitStruct);

  /*Configure GPIO pins : SPI2_MOSI_p2_Pin PB11_Pin */
  GPIO_InitStruct.Pin = SPI2_MOSI_p2_Pin|PB11_Pin;
  GPIO_InitStruct.Mode = GPIO_MODE_OUTPUT_PP;
  GPIO_InitStruct.Pull = GPIO_NOPULL;
  GPIO_InitStruct.Speed = GPIO_SPEED_FREQ_LOW;
  HAL_GPIO_Init(GPIOB, &GPIO_InitStruct);

  /*Configure GPIO pin : INT2_DH_Pin */
  GPIO_InitStruct.Pin = INT2_DH_Pin;
  GPIO_InitStruct.Mode = GPIO_MODE_IT_RISING;
  GPIO_InitStruct.Pull = GPIO_NOPULL;
  HAL_GPIO_Init(INT2_DH_GPIO_Port, &GPIO_InitStruct);

  /*Configure GPIO pin : EX_ADC_Pin */
  GPIO_InitStruct.Pin = EX_ADC_Pin;
  GPIO_InitStruct.Mode = GPIO_MODE_ANALOG_ADC_CONTROL;
  GPIO_InitStruct.Pull = GPIO_NOPULL;
  HAL_GPIO_Init(EX_ADC_GPIO_Port, &GPIO_InitStruct);

  /*Configure GPIO pin : PE12_Pin */
  GPIO_InitStruct.Pin = PE12_Pin;
  GPIO_InitStruct.Mode = GPIO_MODE_ANALOG;
  GPIO_InitStruct.Pull = GPIO_NOPULL;
  HAL_GPIO_Init(PE12_GPIO_Port, &GPIO_InitStruct);

}

/* USER CODE BEGIN 4 */

/* ----------- Redirecting stdout to UART2 -------------- */
int __io_putchar(int ch)
{
 uint8_t c[1];
 c[0] = ch & 0x00FF;
 HAL_UART_Transmit(&huart2, &*c, 1, 10);
 return ch;
}

/*
 * @brief  Write generic device register (platform dependent)
 *
 * @param  handle    customizable argument. In this examples is used in
 *                   order to select the correct sensor bus handler.
 * @param  reg       register to write
 * @param  bufp      pointer to data to write in register reg
 * @param  len       number of consecutive register to write
 *
 */
static int32_t platform_write(void *handle, uint8_t reg, const uint8_t *bufp,
                              uint16_t len)
{
  HAL_GPIO_WritePin(CS_DHC_GPIO_Port, CS_DHC_Pin, GPIO_PIN_RESET);
  HAL_SPI_Transmit(handle, &reg, 1, 1000);
  HAL_SPI_Transmit(handle, (uint8_t*) bufp, len, 1000);
  HAL_GPIO_WritePin(CS_DHC_GPIO_Port, CS_DHC_Pin, GPIO_PIN_SET);
  return 0;
}

/*
 * @brief  Read generic device register (platform dependent)
 *
 * @param  handle    customizable argument. In this examples is used in
 *                   order to select the correct sensor bus handler.
 * @param  reg       register to read
 * @param  bufp      pointer to buffer that store the data read
 * @param  len       number of consecutive register to read
 *
 */
static int32_t platform_read(void *handle, uint8_t reg, uint8_t *bufp,
                             uint16_t len)
{
  reg |= 0x80;
  HAL_GPIO_WritePin(CS_DHC_GPIO_Port, CS_DHC_Pin, GPIO_PIN_RESET);
  HAL_SPI_Transmit(handle, &reg, 1, 1000);
  HAL_SPI_Receive(handle, bufp, len, 1000);
  HAL_GPIO_WritePin(CS_DHC_GPIO_Port, CS_DHC_Pin, GPIO_PIN_SET);
  return 0;
}

/*
 * @brief  Send buffer to console (platform dependent)
 *
 * @param  tx_buffer     buffer to transmit
 * @param  len           number of byte to send
 *
 */
static void tx_com(uint8_t *tx_buffer, uint16_t len)
{
  CDC_Transmit_FS(tx_buffer, len);
}

/*
 * @brief  platform specific delay (platform dependent)
 *
 * @param  ms        delay in ms
 *
 */
static void platform_delay(uint32_t ms)
{
  HAL_Delay(ms);
}

void HAL_UART_TxCpltCallback(UART_HandleTypeDef *huart)
{
	if(huart == &huart2) {
		uint8_t reg;
		for (uint16_t samples = 0 ; samples < DATA_INPUT_USER; samples++) {
			do {
				// Read output only if new xl value is available
				ism330dhcx_xl_flag_data_ready_get(&dev_ctx, &reg);
			}
			while(!reg);
			// When data ready, read acceleration field data
			memset(data_raw_acceleration, 0x00, 3 * sizeof(int16_t));
			ism330dhcx_acceleration_raw_get(&dev_ctx, data_raw_acceleration);
			// Fill buffer with accelerometer x, y & z values
			input_user_buffer[AXIS_NUMBER * samples] = ism330dhcx_from_fs2g_to_mg(data_raw_acceleration[0]);
			input_user_buffer[(AXIS_NUMBER * samples) + 1] = ism330dhcx_from_fs2g_to_mg(data_raw_acceleration[1]);
			input_user_buffer[(AXIS_NUMBER * samples) + 2] = ism330dhcx_from_fs2g_to_mg(data_raw_acceleration[2]);
		}
	}
}

/* USER CODE END 4 */

void Error_Handler(void)
{
  __disable_irq();
  while (1)
  {
  }
}
